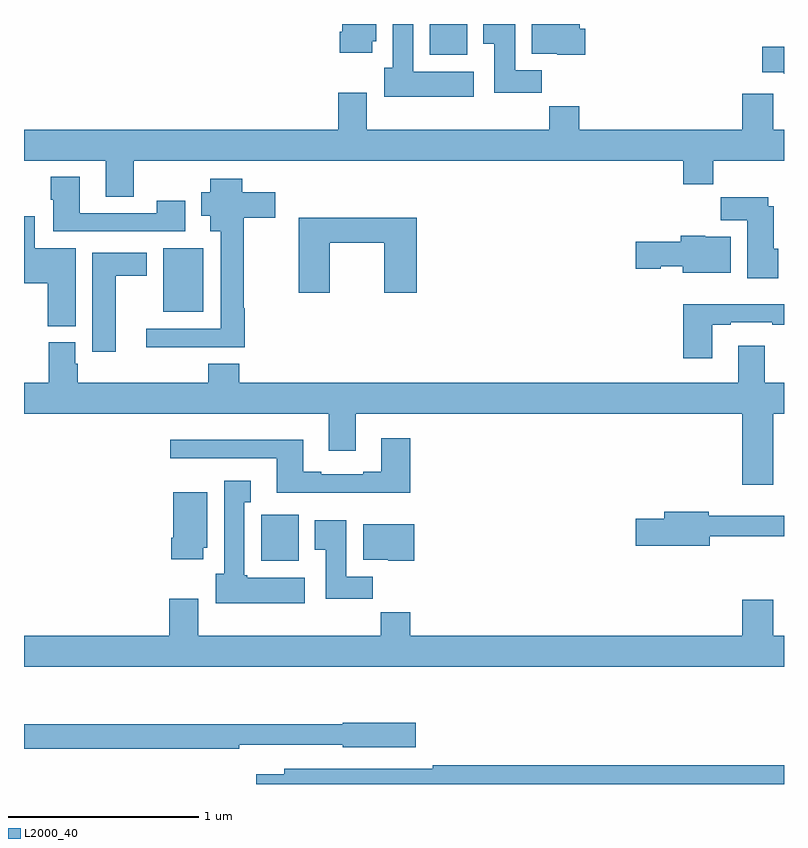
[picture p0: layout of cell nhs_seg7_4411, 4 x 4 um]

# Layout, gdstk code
import gdstk
lib = gdstk.Library(unit=1e-6, precision=1e-09)
def R(c, l, rs):  # rectangles x0, y0, x1, y1
    for r in rs: c.add(gdstk.rectangle(r[:2], r[2:], *l))
def P(c, l, *ps):  # polygons
    for p in ps: c.add(gdstk.Polygon(p, *l))
L2000_40 = (2000, 40)

nhs_seg7_4411 = lib.new_cell('nhs_seg7_4411')
R(nhs_seg7_4411, L2000_40, [(390.248,1001.174,390.445,1001.416), (389.732,1002.485,389.944,1002.82), (391.136,1003.838,391.333,1004)])
P(nhs_seg7_4411, L2000_40, [(390.832,1003.908),(390.853,1003.908),(390.853,1004),(390.674,1004),(390.674,1003.96),(390.662,1003.96),(390.662,1003.848),(390.832,1003.848)],
  [(391.955,1003.974),(391.924,1003.974),(391.924,1004),(391.673,1004),(391.673,1003.844),(391.806,1003.844),(391.806,1003.838),(391.955,1003.838)],
  [(391.724,1003.756),(391.585,1003.756),(391.585,1004),(391.418,1004),(391.418,1003.897),(391.475,1003.897),(391.475,1003.638),(391.724,1003.638)],
  [(391.366,1003.75),(391.048,1003.75),(391.048,1004),(390.941,1004),(390.941,1003.77),(390.896,1003.77),(390.896,1003.616),(391.366,1003.616)],
  [(393,1003.88),(392.886,1003.88),(392.886,1003.745),(392.998,1003.745),(392.998,1003.738),(393,1003.738)],
  [(389.577,1003.28),(392.471,1003.28),(392.471,1003.156),(392.627,1003.156),(392.627,1003.28),(393,1003.28),(393,1003.444),(392.944,1003.444),(392.944,1003.633),(392.78,1003.633),(392.78,1003.444),(391.922,1003.444),(391.922,1003.568),(391.765,1003.568),(391.765,1003.444),(390.805,1003.444),(390.805,1003.639),(390.653,1003.639),(390.653,1003.444),(389,1003.444),(389,1003.28),(389.429,1003.28),(389.429,1003.09),(389.577,1003.09)],
  [(389.848,1003.069),(389.698,1003.069),(389.698,1003.005),(389.293,1003.005),(389.293,1003.195),(389.141,1003.195),(389.141,1003.075),(389.153,1003.075),(389.153,1002.909),(389.848,1002.909)],
  [(390.161,1002.503),(390.156,1002.503),(390.156,1002.98),(390.322,1002.98),(390.322,1003.114),(390.148,1003.114),(390.148,1003.186),(389.981,1003.186),(389.981,1003.114),(389.933,1003.114),(389.933,1002.992),(389.981,1002.992),(389.981,1002.908),(390.035,1002.908),(390.035,1002.396),(389.643,1002.396),(389.643,1002.299),(390.161,1002.299)],
  [(392.971,1002.816),(392.947,1002.816),(392.947,1003.042),(392.917,1003.042),(392.917,1003.087),(392.668,1003.087),(392.668,1002.968),(392.807,1002.968),(392.807,1002.662),(392.971,1002.662)],
  [(389.272,1002.82),(389.056,1002.82),(389.056,1002.988),(389,1002.988),(389,1002.635),(389.126,1002.635),(389.126,1002.409),(389.272,1002.409)],
  [(390.61,1002.85),(390.896,1002.85),(390.896,1002.585),(391.067,1002.585),(391.067,1002.979),(390.445,1002.979),(390.445,1002.585),(390.61,1002.585)],
  [(392.719,1002.88),(392.586,1002.88),(392.586,1002.886),(392.456,1002.886),(392.456,1002.855),(392.22,1002.855),(392.22,1002.713),(392.352,1002.713),(392.352,1002.725),(392.468,1002.725),(392.468,1002.692),(392.719,1002.692)],
  [(389.482,1002.674),(389.647,1002.674),(389.647,1002.796),(389.36,1002.796),(389.36,1002.276),(389.482,1002.276)],
  [(392.623,1002.417),(392.719,1002.417),(392.719,1002.429),(392.939,1002.429),(392.939,1002.417),(393,1002.417),(393,1002.526),(392.471,1002.526),(392.471,1002.24),(392.623,1002.24)],
  [(392.759,1002.112),(390.134,1002.112),(390.134,1002.211),(389.969,1002.211),(389.969,1002.112),(389.282,1002.112),(389.282,1002.213),(389.269,1002.213),(389.269,1002.324),(389.129,1002.324),(389.129,1002.112),(389,1002.112),(389,1001.948),(390.605,1001.948),(390.605,1001.754),(390.745,1001.754),(390.745,1001.948),(392.78,1001.948),(392.78,1001.574),(392.944,1001.574),(392.944,1001.948),(393,1001.948),(393,1002.112),(392.899,1002.112),(392.899,1002.307),(392.759,1002.307)],
  [(391.034,1001.821),(390.881,1001.821),(390.881,1001.644),(390.785,1001.644),(390.785,1001.631),(390.565,1001.631),(390.565,1001.644),(390.469,1001.644),(390.469,1001.812),(389.769,1001.812),(389.769,1001.715),(390.329,1001.715),(390.329,1001.534),(391.034,1001.534)],
  [(390.478,1001.086),(390.174,1001.086),(390.174,1001.1),(390.16,1001.1),(390.16,1001.483),(390.193,1001.483),(390.193,1001.596),(390.053,1001.596),(390.053,1001.106),(390.008,1001.106),(390.008,1000.952),(390.478,1000.952)],
  [(389.944,1001.244),(389.965,1001.244),(389.965,1001.536),(389.786,1001.536),(389.786,1001.296),(389.774,1001.296),(389.774,1001.184),(389.944,1001.184)],
  [(392.608,1001.304),(393,1001.304),(393,1001.413),(392.604,1001.413),(392.604,1001.432),(392.369,1001.432),(392.369,1001.396),(392.22,1001.396),(392.22,1001.254),(392.608,1001.254)],
  [(390.836,1001.092),(390.697,1001.092),(390.697,1001.389),(390.53,1001.389),(390.53,1001.233),(390.587,1001.233),(390.587,1000.974),(390.836,1000.974)],
  [(391.054,1001.368),(390.785,1001.368),(390.785,1001.18),(390.918,1001.18),(390.918,1001.174),(391.054,1001.174)],
  [(393,1000.78),(392.944,1000.78),(392.944,1000.969),(392.78,1000.969),(392.78,1000.78),(391.034,1000.78),(391.034,1000.904),(390.877,1000.904),(390.877,1000.78),(389.917,1000.78),(389.917,1000.975),(389.765,1000.975),(389.765,1000.78),(389,1000.78),(389,1000.616),(393,1000.616)],
  [(390.134,1000.206),(390.678,1000.206),(390.678,1000.193),(391.063,1000.193),(391.063,1000.323),(390.678,1000.323),(390.678,1000.315),(389,1000.315),(389,1000.186),(390.134,1000.186)],
  [(393,1000.1),(391.15,1000.1),(391.15,1000.08),(390.371,1000.08),(390.371,1000.051),(390.222,1000.051),(390.222,1000),(393,1000)])

lib.write_gds('nhs_seg7_4411.gds')
